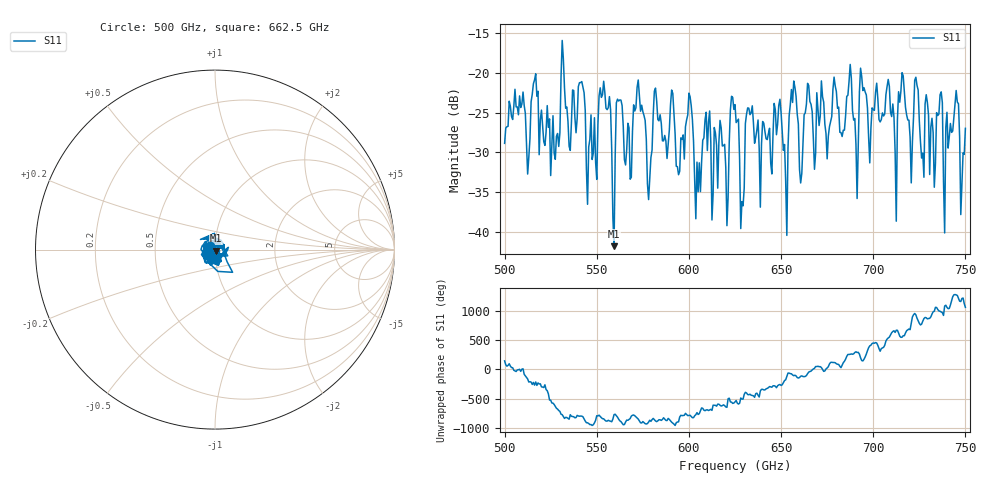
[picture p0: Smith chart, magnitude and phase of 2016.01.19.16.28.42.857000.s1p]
!Created with skrf (http://scikit-rf.org).
# GHz S RI R 50.0
!freq ReS11 ImS11
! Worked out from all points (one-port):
!   401 points, 500 GHz to 750 GHz, reference 50 ohm
!   lowest |S11| = -41.8 dB at 559.4 GHz (marker M1), VSWR 1.02, Z = 50.5 - j0.638 ohm
!   |S11| at or under -10 dB: start of sweep to end of sweep
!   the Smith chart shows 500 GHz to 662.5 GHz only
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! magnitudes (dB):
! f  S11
! 500 GHz  -28.9
! 516.9 GHz  -20.1
! 526.2 GHz  -25.4
! 531.2 GHz  -15.9
! 545.6 GHz  -29.3
! 553.1 GHz  -22.7
! 559.4 GHz  -41.8
! 562.5 GHz  -23.4
! 578.8 GHz  -33.4
! 581.9 GHz  -21.9
! 591.2 GHz  -22.6
! 593.8 GHz  -31.8
! 600.6 GHz  -23.0
! 605 GHz  -35.0
! 610 GHz  -29.8
! 620.6 GHz  -39.2
! 625 GHz  -24.0
! 628.8 GHz  -36.2
! 631.9 GHz  -24.4
! 652.5 GHz  -33.6
! 656.2 GHz  -23.7
! 660.6 GHz  -33.8
! 665 GHz  -21.6
! 687.5 GHz  -18.9
! 690.6 GHz  -29.0
! 693.8 GHz  -20.5
! 718.8 GHz  -25.9
! 750 GHz  -27.0
